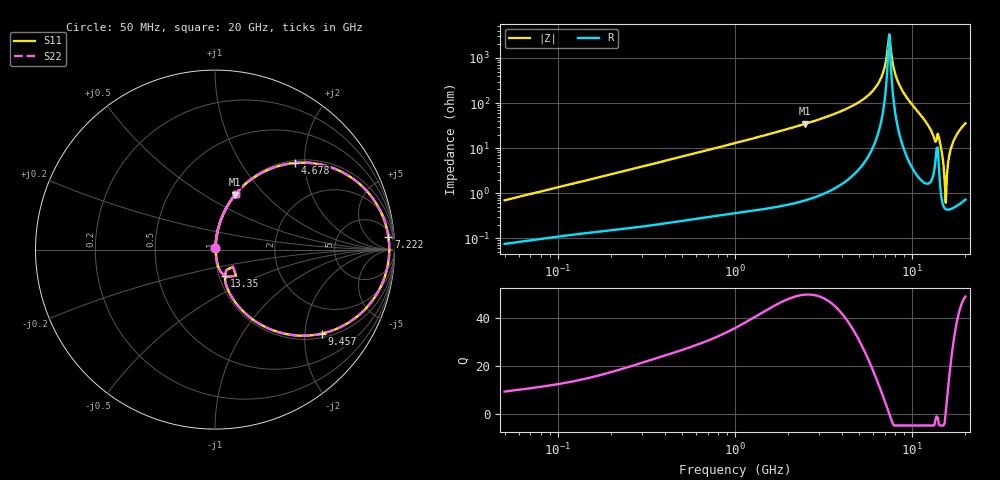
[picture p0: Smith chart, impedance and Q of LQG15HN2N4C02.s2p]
!Murata Part Number: LQG15HN2N4C02
!These Parameters are Measured in Series Mode Connection
!  o--[Z]--o
!Port1  Port2
!  o-------o
!Freq. Start=50[MHz] Stop=20[GHz], 401[Steps]
# Hz S RI R 50
!Freq.(Hz) S11(Real) S11(Imag) S21(Real) S21(Imag) S12(Real) S12(Imag) S22(Real) S22(Imag)
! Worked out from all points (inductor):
!   401 points, 50 MHz to 20 GHz, reference 50 ohm
!   read as one part in series: L = 2.18 nH near 51.52 MHz
!   highest Q = 50 at 2.494 GHz (marker M1), where L = 2.21 nH
!   self-resonance near 7.331 GHz
!   S11 on the Smith chart (normalised r, x): 50 MHz: 1.00, +0.01; 4.678 GHz: 1.05, +1.79; 7.222 GHz: 10, +23; 9.457 GHz: 1.11, -2.46; 13.35 GHz: 1.06, -0.32; 20 GHz: 1.01, +0.71
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5e7  0.000797 0.00691  0.9992 -0.00691  0.9992 -0.00691  0.000797 0.00691
1.364002e8  0.00159 0.0181  0.9984 -0.0181  0.9984 -0.0181  0.00159 0.0181
3.721004e8  0.00435 0.0479  0.9957 -0.0479  0.9957 -0.0479  0.00435 0.0479
1e9  0.0198 0.126  0.9802 -0.126  0.9802 -0.126  0.0198 0.126
2.493527e9  0.1119 0.3053  0.8881 -0.3053  0.8881 -0.3053  0.1119 0.3053
2.728004e9  0.1349 0.3317  0.8651 -0.3317  0.8651 -0.3317  0.1349 0.3317
4.677679e9  0.4459 0.4829  0.5541 -0.4829  0.5541 -0.4829  0.4459 0.4829
6.311513e9  0.8365 0.3364  0.1635 -0.3364  0.1635 -0.3364  0.8365 0.3364
6.905011e9  0.9391 0.1752  0.0609 -0.1752  0.0609 -0.1752  0.9391 0.1752
7.222371e9  0.9663 0.0708  0.0337 -0.0708  0.0337 -0.0708  0.9663 0.0708
7.442007e9  0.9711 -0.00486  0.0289 0.00486  0.0289 0.00486  0.9711 -0.00486
8.264682e9  0.8875 -0.2695  0.1125 0.2695  0.1125 0.2695  0.8875 -0.2695
9.457416e9  0.5972 -0.4677  0.4028 0.4677  0.4028 0.4677  0.5972 -0.4677
1.166392e10  0.1698 -0.3563  0.8302 0.3563  0.8302 0.3563  0.1698 -0.3563
1.334722e10  0.0542 -0.1469  0.9458 0.1469  0.9458 0.1469  0.0542 -0.1469
1.438523e10  0.0307 -0.1235  0.9693 0.1235  0.9693 0.1235  0.0307 -0.1235
1.504638e10  0.00682 -0.0416  0.9932 0.0416  0.9932 0.0416  0.00682 -0.0416
1.550395e10  0.0044 0.00423  0.9956 -0.00423  0.9956 -0.00423  0.0044 0.00423
1.573793e10  0.00497 0.0258  0.995 -0.0258  0.995 -0.0258  0.00497 0.0258
1.621653e10  0.0089 0.0673  0.9911 -0.0673  0.9911 -0.0673  0.0089 0.0673
1.696185e10  0.0208 0.126  0.9792 -0.126  0.9792 -0.126  0.0208 0.126
2e10  0.1164 0.3107  0.8836 -0.3107  0.8836 -0.3107  0.1164 0.3107
